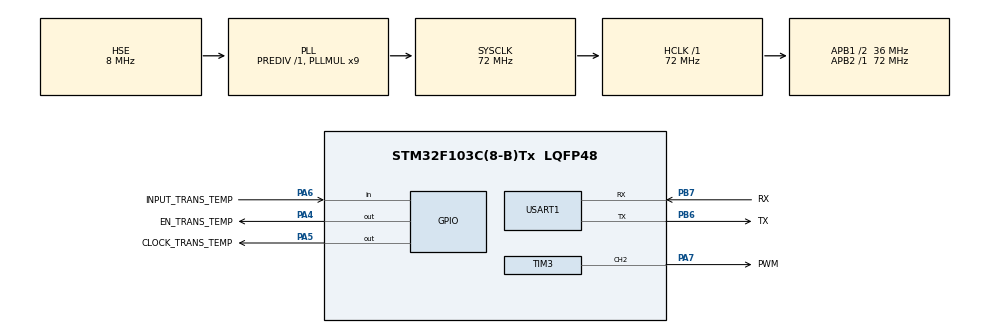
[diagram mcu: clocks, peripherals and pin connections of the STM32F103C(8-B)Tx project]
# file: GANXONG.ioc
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Dma.Request0=USART1_TX
Dma.USART1_TX.0.Direction=DMA_MEMORY_TO_PERIPH
Dma.USART1_TX.0.Instance=DMA1_Channel4
Dma.USART1_TX.0.MemDataAlignment=DMA_MDATAALIGN_BYTE
Dma.USART1_TX.0.MemInc=DMA_MINC_ENABLE
Dma.USART1_TX.0.Mode=DMA_NORMAL
Dma.USART1_TX.0.PeriphDataAlignment=DMA_PDATAALIGN_BYTE
Dma.USART1_TX.0.PeriphInc=DMA_PINC_DISABLE
Dma.USART1_TX.0.Priority=DMA_PRIORITY_LOW
Mcu.Family=STM32F1
Mcu.Name=STM32F103C(8-B)Tx
Mcu.Package=LQFP48
NVIC.DMA1_Channel4_IRQn=true\:0\:0\:false\:false\:true\:false\:true
NVIC.PriorityGroup=NVIC_PRIORITYGROUP_4
NVIC.TIM1_UP_IRQn=true\:0\:0\:false\:false\:true\:true\:true
NVIC.TIM2_IRQn=true\:0\:0\:false\:false\:true\:true\:true
NVIC.TIM3_IRQn=true\:0\:0\:false\:false\:true\:true\:true
NVIC.USART1_IRQn=true\:0\:0\:false\:false\:true\:true\:true
PA13.Mode=Serial_Wire
PA13.Signal=SYS_JTMS-SWDIO
PA14.Mode=Serial_Wire
PA14.Signal=SYS_JTCK-SWCLK
PA4.GPIO_Label=EN_TRANS_TEMP
PA4.Signal=GPIO_Output
PA5.GPIO_Label=CLOCK_TRANS_TEMP
PA5.Signal=GPIO_Output
PA6.GPIO_Label=INPUT_TRANS_TEMP
PA6.Signal=GPIO_Input
PA7.GPIO_Label=PWM
PA7.Signal=S_TIM3_CH2
PB6.GPIO_Label=TX
PB6.Mode=Asynchronous
PB6.Signal=USART1_TX
PB7.GPIO_Label=RX
PB7.Mode=Asynchronous
PB7.Signal=USART1_RX
PD0-OSC_IN.Mode=HSE-External-Oscillator
PD0-OSC_IN.Signal=RCC_OSC_IN
PD1-OSC_OUT.Mode=HSE-External-Oscillator
PD1-OSC_OUT.Signal=RCC_OSC_OUT
ProjectManager.HeapSize=0x200
ProjectManager.StackSize=0x400
ProjectManager.TargetToolchain=MDK-ARM V5.27
RCC.AHBFreq_Value=72000000
RCC.APB1CLKDivider=RCC_HCLK_DIV2
RCC.APB1Freq_Value=36000000
RCC.APB1TimFreq_Value=72000000
RCC.APB2Freq_Value=72000000
RCC.APB2TimFreq_Value=72000000
RCC.HCLKFreq_Value=72000000
RCC.PLLMUL=RCC_PLL_MUL9
RCC.PLLSourceVirtual=RCC_PLLSOURCE_HSE
RCC.SYSCLKFreq_VALUE=72000000
RCC.SYSCLKSource=RCC_SYSCLKSOURCE_PLLCLK
RCC.USBFreq_Value=72000000
SH.S_TIM3_CH2.0=TIM3_CH2,PWM Generation2 CH2
TIM1.AutoReloadPreload=TIM_AUTORELOAD_PRELOAD_ENABLE
TIM1.Period=9999
TIM1.Prescaler=7199
TIM2.Period=99
TIM2.Prescaler=719
TIM3.Channel-PWM\ Generation2\ CH2=TIM_CHANNEL_2
TIM3.Period=3999
TIM3.Prescaler=35999
USART1.VirtualMode=VM_ASYNC
VP_TIM1_VS_ClockSourceINT.Mode=Internal
VP_TIM2_VS_ClockSourceINT.Mode=Internal
VP_TIM3_VS_ClockSourceINT.Mode=Internal
board=custom

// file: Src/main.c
/* USER CODE BEGIN Header */
/**
  ******************************************************************************
  * @file           : main.c
  * @brief          : Main program body
  ******************************************************************************
  * @attention
  *
  * <h2><center>&copy; Copyright (c) 2020 STMicroelectronics.
  * All rights reserved.</center></h2>
  *
  * This software component is licensed by ST under BSD 3-Clause license,
  * the "License"; You may not use this file except in compliance with the
  * License. You may obtain a copy of the License at:
  *                        opensource.org/licenses/BSD-3-Clause
  *
  ******************************************************************************
  */
/* USER CODE END Header */

#include "main.h"
#include <math.h>
/* USER CODE BEGIN Includes */
#define PI 3.1416
/* USER CODE END Includes */

/* USER CODE BEGIN PTD */
float GetTemp(void);
void first_order_lowpass(void) ;
void OnOff(void);
void Pid(void);
void AuToTuning(void);
/* USER CODE END PTD */

TIM_HandleTypeDef htim1;
TIM_HandleTypeDef htim2;
TIM_HandleTypeDef htim3;

UART_HandleTypeDef huart1;
DMA_HandleTypeDef hdma_usart1_tx;

/* USER CODE BEGIN PV */
struct dulieugui{
	float nhietdo;
	float ki;
	float kp;
	float kd;
};
struct dulieunhan {
	uint16_t open;
	uint16_t mode; // mode phai luon duoc kieu tra
	float settemp;
	float ki;
	float kp;
	float kd;
	float time;
};
///
int T = 1; // thoi gian lay mau
float error[3]; // tinh sai so nhiet do
float temp_conf[]={0.1f,0.9f}; // he so bo lloc thong thap
float control[2] = {0,0}; // gia tri phan tram cong suat
uint8_t open=1; // kiem tra thermocouple co ho mach khong
uint32_t Timer =0, Ta =0;
// pwm
struct thongso{
	float temp0;
	float temp1;
	float ki;
	float kp;
	float kd;
	float settemp;
	float temp_auto;
	float pwm;
};
/* USER CODE END PV */
struct dulieugui dataout, *out;
struct dulieunhan datain, *in;
struct thongso thongso1= {0,0,0,0,0,0,0,0}, *thgso;
uint8_t *pointer, *pointer1; // pointer truyen vao dma de truyen du lieu
void SystemClock_Config(void);
static void MX_GPIO_Init(void);
static void MX_DMA_Init(void);
static void MX_TIM3_Init(void);
static void MX_TIM2_Init(void);
static void MX_USART1_UART_Init(void);
static void MX_TIM1_Init(void);

int main(void)
{
  /* USER CODE BEGIN 1 */
	out = &dataout ;
	in = &datain;
	thgso =&thongso1;
	pointer = (uint8_t*)out;
	pointer1 =(uint8_t*)in;
  /* USER CODE END 1 */
  /* MCU Configuration--------------------------------------------------------*/

  /* Reset of all peripherals, Initializes the Flash interface and the Systick. */
  HAL_Init();

  /* Configure the system clock */
  SystemClock_Config();

  /* Initialize all configured peripherals */
  MX_GPIO_Init();
  MX_DMA_Init();
  MX_TIM3_Init();
  MX_TIM2_Init();
  MX_USART1_UART_Init();
  MX_TIM1_Init();
  /* USER CODE BEGIN 2 */
	HAL_TIM_PWM_Start(&htim3,TIM_CHANNEL_2);
	HAL_GPIO_WritePin(GPIOA,GPIO_PIN_4,GPIO_PIN_SET);
	HAL_Delay(500);

	thongso1.temp0 = GetTemp();
  /* USER CODE END 2 */

	// bat dau ngat timer 1 de truyen du lieu lien tuc
	HAL_TIM_Base_Start_IT(&htim1);
	HAL_UART_Receive_IT(&huart1, pointer1, 48);
  /* Infinite loop */
  while (1)
  {
		switch(datain.mode)
			{
			case 0: OnOff();
			break;
			case 1: Pid();
			break;
			case 2: AuToTuning();
			break;
			default : thongso1.temp0 = GetTemp();
			}
  }
}
// ham doc nhiet do tu thermorcouple
float GetTemp(void){
	uint8_t buffer_bit[16];
	int16_t buffer =0;
	float temperature_instance;
	HAL_GPIO_WritePin(GPIOA,GPIO_PIN_4,GPIO_PIN_RESET);
	for(int i=0;i<16;i++)
	{HAL_GPIO_WritePin(GPIOA,GPIO_PIN_5,GPIO_PIN_SET);
		buffer_bit[i]=HAL_GPIO_ReadPin(GPIOA,GPIO_PIN_6);
		if (i>0 && i <13)
		{buffer=buffer<<1;
		if (HAL_GPIO_ReadPin(GPIOA,GPIO_PIN_6)==1)
			{buffer++;}
		}
		HAL_GPIO_WritePin(GPIOA,GPIO_PIN_5,GPIO_PIN_RESET);
	}
	open = buffer_bit[13];
	temperature_instance=buffer/4.0;
	HAL_GPIO_WritePin(GPIOA,GPIO_PIN_4,GPIO_PIN_SET);
	HAL_Delay(200);
	return temperature_instance;
}
////

	// cap nhat gia tri nhiet do
	// nhap doi so la thongso1.temp1
	// de tinh nhiet do trung binh

void first_order_lowpass(void)
{
	 thongso1.temp1= thongso1.temp0;
	thongso1.temp0 = (0.1*GetTemp()+0.9*thongso1.temp1);
}

//////

void OnOff(void){
		while (datain.open) {
		first_order_lowpass(); // cap nhat gia tri
		if (thongso1.temp0 > datain.settemp)
		{
			__HAL_TIM_SET_COMPARE(&htim3,TIM_CHANNEL_2,00);
		}
		else
		{
			__HAL_TIM_SET_COMPARE(&htim3,TIM_CHANNEL_2,1600);//1600/2000=80%duty
		}
	}
}
/////

void Pid(void) {
	////////////////////////Cap nhat thong so ban dau//////////////////
	HAL_TIM_Base_Start_IT(&htim2);
	error[2]=0;
	error[1]=0;
	error[0]=0;
	thongso1.temp0 = GetTemp();
	// cap nhat thong so PID dau tien
	thgso->kd = in->kd;
	thgso->ki = in->ki;
	thgso->kp = in->kp;
	//Kp=0.0276;Ki=0.000007;Kd=1.826;
	while (datain.open)
		{
			first_order_lowpass();
			error[0]=datain.settemp - thongso1.temp0;
			// luat dieu khien pid
			control[0] = control[1]+thongso1.kp*(error[0] - error[1])
			+0.5*thongso1.ki*T*(error[0] + error[1])+thongso1.kd/T*( error[0] - 2*error[1]+ error[2]);
			///
			/*
			P=Kp*(error - pre_error);
			I=0.5*Ki*(error + pre_error);
			D=Kd*( error - 2*pre_error+ pre_pre_error);
			*/
			// cap nhat thong so luat dieu khien
			error[2]=error[1];
			error[1] = error[0];
			control[1]= control[0];
			if (control[0]<0) control[0]=0;
			if (control[0]>1) control[0]=1;
			// tinh toan cong suat  va xuat ra
			thongso1.pwm=sqrt(control[0])*1600;
			__HAL_TIM_SET_COMPARE(&htim3,TIM_CHANNEL_2,(uint32_t)thongso1.pwm);
			HAL_Delay(1800);
		}
}

////
/////

void AuToTuning(void){
	////// cap nhat thong so ban dau /////
	HAL_TIM_Base_Start_IT(&htim2);
	uint8_t select = 0;
	error[2]=0;
	error[1]=0;
	error[0]=0;
	HAL_TIM_Base_Start_IT(&htim2); // tinh Tc
	int dem = 0;
	thongso1.temp0 = GetTemp();
	thongso1.temp_auto = 0.7f*datain.settemp;
	float ymax=thongso1.temp_auto;
	float ymin=thongso1.temp_auto;
	// bat dau
	while (datain.open==1) {
		first_order_lowpass();
		if (select==0){// bat dau qua trinh ONOFF
			error[0]=thongso1.temp_auto-thongso1.temp0;
			if (error[0]<0)
			{
				__HAL_TIM_SET_COMPARE(&htim3,TIM_CHANNEL_2,00);// gia tri pwm =0
			}
			else // nguoc lai thi maxgang
			{
			__HAL_TIM_SET_COMPARE(&htim3,TIM_CHANNEL_2,1414);//1600/2000=80%duty
			}

			if ((error[0]>=0)&&(error[1]<0)&&(error[2]<0))
				{
				if(dem==1)
					{
					if ((Timer-Ta)>1000) dem++;
					}
				else if  (dem==0) dem++;
				}
			error[2]=error[1];
			error[1] = error[0];
			control[1]= control[0];
			if (dem==1){
				if(Ta==0) Ta=Timer;
				if(ymax<thongso1.temp0) ymax=thongso1.temp0;
				if(ymin>thongso1.temp0) ymin=thongso1.temp0;
			}
		}
			if (dem==2)
			{
				float Tc=Timer-Ta;
				thongso1.kp= cos(PI/2.4)*4*0.5/(PI*(ymax-ymin));
				thongso1.kd=thongso1.kp*Tc/(400*PI)*(tan(PI/2.4)+sqrt(4/5+tan(PI/2.4)*tan(PI/2.4)));
				thongso1.ki = thongso1.kp/(thongso1.kd/thongso1.kp*5.0f);
				select=1;
				error[2]=0;
				error[1]=0;
				error[0]=0;
				//Ti=Timer;
			}
		HAL_TIM_Base_Stop_IT(&htim2); // tat interrupt
		Timer = 0;
		}
		if (select==1){ // bat dau qua trinh pid
			Pid();
		}
}
/////////////////////////////////////////////////////Get_Temp//////////////////////////////////////

//////////////////////Calculate Average Time/////////////////////////////

////////////////////////////////////////////////////Iimer Interup////////////////////////////////////

void HAL_TIM_PeriodElapsedCallback(TIM_HandleTypeDef *htim)
{if (htim->Instance==TIM2)
	{	Timer++;

	}
	if(htim->Instance == htim1.Instance){
		// cap nhat thong so goi di
		out->nhietdo = thongso1.temp0;
		out->ki = thongso1.ki;
		out->kp = thongso1.kp;
		out->kd = thongso1.kd;
		// dung dma nen khong ton tai nguyen cpu
		HAL_UART_Transmit_DMA(&huart1,pointer, 32);
	}
}
////
void HAL_UART_RxCpltCallback(UART_HandleTypeDef *huart){
	//if(huart->Instance == huart1.Instance)
		;
}

////

void SystemClock_Config(void)
{
  RCC_OscInitTypeDef RCC_OscInitStruct = {0};
  RCC_ClkInitTypeDef RCC_ClkInitStruct = {0};

  /** Initializes the CPU, AHB and APB busses clocks
  */
  RCC_OscInitStruct.OscillatorType = RCC_OSCILLATORTYPE_HSE;
  RCC_OscInitStruct.HSEState = RCC_HSE_ON;
  RCC_OscInitStruct.HSEPredivValue = RCC_HSE_PREDIV_DIV1;
  RCC_OscInitStruct.HSIState = RCC_HSI_ON;
  RCC_OscInitStruct.PLL.PLLState = RCC_PLL_ON;
  RCC_OscInitStruct.PLL.PLLSource = RCC_PLLSOURCE_HSE;
  RCC_OscInitStruct.PLL.PLLMUL = RCC_PLL_MUL9;
  if (HAL_RCC_OscConfig(&RCC_OscInitStruct) != HAL_OK)
  {
    Error_Handler();
  }
  /** Initializes the CPU, AHB and APB busses clocks
  */
  RCC_ClkInitStruct.ClockType = RCC_CLOCKTYPE_HCLK|RCC_CLOCKTYPE_SYSCLK
                              |RCC_CLOCKTYPE_PCLK1|RCC_CLOCKTYPE_PCLK2;
  RCC_ClkInitStruct.SYSCLKSource = RCC_SYSCLKSOURCE_PLLCLK;
  RCC_ClkInitStruct.AHBCLKDivider = RCC_SYSCLK_DIV1;
  RCC_ClkInitStruct.APB1CLKDivider = RCC_HCLK_DIV2;
  RCC_ClkInitStruct.APB2CLKDivider = RCC_HCLK_DIV1;

  if (HAL_RCC_ClockConfig(&RCC_ClkInitStruct, FLASH_LATENCY_2) != HAL_OK)
  {
    Error_Handler();
  }
}

static void MX_TIM1_Init(void)
{

  TIM_ClockConfigTypeDef sClockSourceConfig = {0};
  TIM_MasterConfigTypeDef sMasterConfig = {0};

  htim1.Instance = TIM1;
  htim1.Init.Prescaler = 7199;
  htim1.Init.CounterMode = TIM_COUNTERMODE_UP;
  htim1.Init.Period = 9999;
  htim1.Init.ClockDivision = TIM_CLOCKDIVISION_DIV1;
  htim1.Init.RepetitionCounter = 0;
  htim1.Init.AutoReloadPreload = TIM_AUTORELOAD_PRELOAD_ENABLE;
  if (HAL_TIM_Base_Init(&htim1) != HAL_OK)
  {
    Error_Handler();
  }
  sClockSourceConfig.ClockSource = TIM_CLOCKSOURCE_INTERNAL;
  if (HAL_TIM_ConfigClockSource(&htim1, &sClockSourceConfig) != HAL_OK)
  {
    Error_Handler();
  }
  sMasterConfig.MasterOutputTrigger = TIM_TRGO_RESET;
  sMasterConfig.MasterSlaveMode = TIM_MASTERSLAVEMODE_DISABLE;
  if (HAL_TIMEx_MasterConfigSynchronization(&htim1, &sMasterConfig) != HAL_OK)
  {
    Error_Handler();
  }

}

static void MX_TIM2_Init(void)
{

  TIM_ClockConfigTypeDef sClockSourceConfig = {0};
  TIM_MasterConfigTypeDef sMasterConfig = {0};

  htim2.Instance = TIM2;
  htim2.Init.Prescaler = 719;
  htim2.Init.CounterMode = TIM_COUNTERMODE_UP;
  htim2.Init.Period = 99;
  htim2.Init.ClockDivision = TIM_CLOCKDIVISION_DIV1;
  htim2.Init.AutoReloadPreload = TIM_AUTORELOAD_PRELOAD_DISABLE;
  if (HAL_TIM_Base_Init(&htim2) != HAL_OK)
  {
    Error_Handler();
  }
  sClockSourceConfig.ClockSource = TIM_CLOCKSOURCE_INTERNAL;
  if (HAL_TIM_ConfigClockSource(&htim2, &sClockSourceConfig) != HAL_OK)
  {
    Error_Handler();
  }
  sMasterConfig.MasterOutputTrigger = TIM_TRGO_RESET;
  sMasterConfig.MasterSlaveMode = TIM_MASTERSLAVEMODE_DISABLE;
  if (HAL_TIMEx_MasterConfigSynchronization(&htim2, &sMasterConfig) != HAL_OK)
  {
    Error_Handler();
  }

}

static void MX_TIM3_Init(void)
{

  TIM_ClockConfigTypeDef sClockSourceConfig = {0};
  TIM_MasterConfigTypeDef sMasterConfig = {0};
  TIM_OC_InitTypeDef sConfigOC = {0};

  htim3.Instance = TIM3;
  htim3.Init.Prescaler = 35999;
  htim3.Init.CounterMode = TIM_COUNTERMODE_UP;
  htim3.Init.Period = 3999;// pwm trong 2 s
  htim3.Init.ClockDivision = TIM_CLOCKDIVISION_DIV1;
  htim3.Init.AutoReloadPreload = TIM_AUTORELOAD_PRELOAD_DISABLE;
  if (HAL_TIM_Base_Init(&htim3) != HAL_OK)
  {
    Error_Handler();
  }
  sClockSourceConfig.ClockSource = TIM_CLOCKSOURCE_INTERNAL;
  if (HAL_TIM_ConfigClockSource(&htim3, &sClockSourceConfig) != HAL_OK)
  {
    Error_Handler();
  }
  if (HAL_TIM_PWM_Init(&htim3) != HAL_OK)
  {
    Error_Handler();
  }
  sMasterConfig.MasterOutputTrigger = TIM_TRGO_RESET;
  sMasterConfig.MasterSlaveMode = TIM_MASTERSLAVEMODE_DISABLE;
  if (HAL_TIMEx_MasterConfigSynchronization(&htim3, &sMasterConfig) != HAL_OK)
  {
    Error_Handler();
  }
  sConfigOC.OCMode = TIM_OCMODE_PWM1;
  sConfigOC.Pulse = 0;
  sConfigOC.OCPolarity = TIM_OCPOLARITY_HIGH;
  sConfigOC.OCFastMode = TIM_OCFAST_DISABLE;
  if (HAL_TIM_PWM_ConfigChannel(&htim3, &sConfigOC, TIM_CHANNEL_2) != HAL_OK)
  {
    Error_Handler();
  }
  HAL_TIM_MspPostInit(&htim3);

}

static void MX_USART1_UART_Init(void)
{

  huart1.Instance = USART1;
  huart1.Init.BaudRate = 115200;
  huart1.Init.WordLength = UART_WORDLENGTH_8B;
  huart1.Init.StopBits = UART_STOPBITS_1;
  huart1.Init.Parity = UART_PARITY_NONE;
  huart1.Init.Mode = UART_MODE_TX_RX;
  huart1.Init.HwFlowCtl = UART_HWCONTROL_NONE;
  huart1.Init.OverSampling = UART_OVERSAMPLING_16;
  if (HAL_UART_Init(&huart1) != HAL_OK)
  {
    Error_Handler();
  }

}

static void MX_DMA_Init(void)
{

  /* DMA controller clock enable */
  __HAL_RCC_DMA1_CLK_ENABLE();

  /* DMA interrupt init */
  /* DMA1_Channel4_IRQn interrupt configuration */
  HAL_NVIC_SetPriority(DMA1_Channel4_IRQn, 0, 0);
  HAL_NVIC_EnableIRQ(DMA1_Channel4_IRQn);

}

static void MX_GPIO_Init(void)
{
  GPIO_InitTypeDef GPIO_InitStruct = {0};

  /* GPIO Ports Clock Enable */
  __HAL_RCC_GPIOD_CLK_ENABLE();
  __HAL_RCC_GPIOA_CLK_ENABLE();
  __HAL_RCC_GPIOB_CLK_ENABLE();

  /*Configure GPIO pin Output Level */
  HAL_GPIO_WritePin(GPIOA, EN_TRANS_TEMP_Pin|CLOCK_TRANS_TEMP_Pin, GPIO_PIN_RESET);

  /*Configure GPIO pins : EN_TRANS_TEMP_Pin CLOCK_TRANS_TEMP_Pin */
  GPIO_InitStruct.Pin = EN_TRANS_TEMP_Pin|CLOCK_TRANS_TEMP_Pin;
  GPIO_InitStruct.Mode = GPIO_MODE_OUTPUT_PP;
  GPIO_InitStruct.Pull = GPIO_NOPULL;
  GPIO_InitStruct.Speed = GPIO_SPEED_FREQ_LOW;
  HAL_GPIO_Init(GPIOA, &GPIO_InitStruct);

  /*Configure GPIO pin : INPUT_TRANS_TEMP_Pin */
  GPIO_InitStruct.Pin = INPUT_TRANS_TEMP_Pin;
  GPIO_InitStruct.Mode = GPIO_MODE_INPUT;
  GPIO_InitStruct.Pull = GPIO_NOPULL;
  HAL_GPIO_Init(INPUT_TRANS_TEMP_GPIO_Port, &GPIO_InitStruct);

}

void Error_Handler(void)
{
}

/************************ (C) COPYRIGHT STMicroelectronics *****END OF FILE****/
